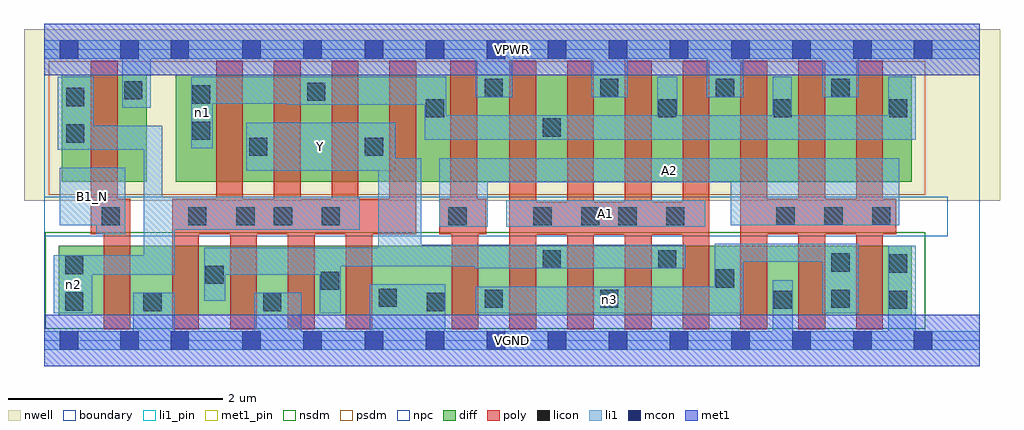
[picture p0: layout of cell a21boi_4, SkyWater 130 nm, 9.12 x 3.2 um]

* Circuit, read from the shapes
.subckt a21boi_4 A1 A2 B1_N VGND VPWR Y n1 n2 n3
XM1 VGND B1_N n2 VSUBS sky130_fd_pr__nfet_01v8 w=0.65 l=0.25
XM2 Y n2 VGND VSUBS sky130_fd_pr__nfet_01v8 w=0.65 l=0.25 m=4
XM3 n3 A2 VGND VSUBS sky130_fd_pr__nfet_01v8 w=0.65 l=0.25 m=4
XM4 Y A1 n3 VSUBS sky130_fd_pr__nfet_01v8 w=0.65 l=0.25 m=4
XM5 VPWR B1_N n2 n4 sky130_fd_pr__pfet_01v8 w=1 l=0.25
XM6 Y n2 n1 n4 sky130_fd_pr__pfet_01v8 w=1 l=0.25 m=4
XM7 VPWR A2 n1 n4 sky130_fd_pr__pfet_01v8 w=1 l=0.25 m=4
XM8 n1 A1 VPWR n4 sky130_fd_pr__pfet_01v8 w=1 l=0.25 m=4
.ends

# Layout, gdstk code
import gdstk
lib = gdstk.Library(unit=1e-6, precision=1e-09)
def R(c, l, rs):  # rectangles x0, y0, x1, y1
    for r in rs: c.add(gdstk.rectangle(r[:2], r[2:], *l))
def A(c, l, x, y, w, h, nx, ny, dx, dy):  # array of equal rectangles
    R(c, l, [(x+i*dx, y+j*dy, x+i*dx+w, y+j*dy+h) for i in range(nx) for j in range(ny)])
nwell = (64, 20)
diff = (65, 20)
poly = (66, 20)
licon = (66, 44)
li1_pin = (67, 16)
li1 = (67, 20)
mcon = (67, 44)
met1_pin = (68, 16)
met1 = (68, 20)
nsdm = (93, 44)
psdm = (94, 20)
npc = (95, 20)
boundary = (235, 4)

a21boi_4 = lib.new_cell('a21boi_4')
R(a21boi_4, nwell, [(-0.19,1.305,8.93,2.91), (0,1.305,8.74,2.91)])
R(a21boi_4, diff, [(0.135,0.235,8.105,0.885), (0.165,1.485,0.955,2.485), (1.23,1.485,8.105,2.485)])
A(a21boi_4, poly, 1.195, 0.105, 0.25, 1.22, 4, 1, 0.54, 0)
A(a21boi_4, poly, 4.345, 0.105, 0.25, 2.51, 7, 1, 0.54, 0)
A(a21boi_4, poly, 1.605, 0.995, 0.25, 1.62, 4, 1, 0.54, 0)
R(a21boi_4, poly, [(0.555,0.105,0.805,1.325), (3.805,0.105,4.055,1.325), (4.345,0.99,6.215,1.295), (0.435,0.995,0.685,2.615), (1.195,0.995,3.475,1.325), (3.69,0.995,4.13,1.325), (3.795,0.995,4.045,2.615), (6.505,0.995,7.96,1.325)])
A(a21boi_4, licon, 5.735, 2.085, 0.17, 0.17, 3, 1, 1.08, 0)
A(a21boi_4, licon, 4.115, 2.275, 0.17, 0.17, 4, 1, 1.08, 0)
R(a21boi_4, licon, [(0.925,0.275,1.095,0.445), (2.045,0.275,2.215,0.445), (3.575,0.275,3.745,0.445), (0.195,0.28,0.365,0.45), (6.815,0.295,6.985,0.465), (7.895,0.295,8.065,0.465), (4.115,0.305,4.285,0.475), (5.195,0.305,5.365,0.475), (7.355,0.305,7.525,0.475), (3.125,0.315,3.295,0.485), (2.585,0.475,2.755,0.645), (6.275,0.495,6.445,0.665), (1.505,0.53,1.675,0.7), (0.195,0.62,0.365,0.79), (7.895,0.635,8.065,0.805), (7.355,0.645,7.525,0.815), (4.655,0.675,4.825,0.845), (5.735,0.675,5.905,0.845), (0.535,1.075,0.705,1.245), (1.345,1.075,1.515,1.245), (1.795,1.075,1.965,1.245), (2.145,1.075,2.315,1.245), (2.59,1.075,2.76,1.245), (3.775,1.075,3.945,1.245), (4.57,1.075,4.74,1.245), (5.015,1.075,5.185,1.245), (5.365,1.075,5.535,1.245), (5.81,1.075,5.98,1.245), (6.84,1.075,7.01,1.245), (7.29,1.075,7.46,1.245), (7.735,1.075,7.905,1.245), (1.915,1.725,2.085,1.895), (2.995,1.725,3.165,1.895), (0.205,1.85,0.375,2.02), (1.38,1.875,1.55,2.045), (4.655,1.905,4.825,2.075), (3.565,2.085,3.735,2.255), (0.205,2.19,0.375,2.36), (1.38,2.215,1.55,2.385), (2.455,2.24,2.625,2.41), (0.745,2.255,0.915,2.425)])
R(a21boi_4, li1_pin, [(4.315,1.065,6.175,1.31), (0.145,1.075,0.755,1.615), (3.69,1.48,7.99,1.705), (1.885,1.585,3.28,2.035)])
A(a21boi_4, li1, 4.03, 2.275, 0.34, 0.53, 4, 1, 1.08, 0)
R(a21boi_4, li1, [(0,-0.085,8.74,0.085), (0.83,-0.085,1.22,0.445), (1.96,-0.085,2.4,0.445), (3.04,-0.085,3.745,0.525), (6.805,-0.085,6.995,0.565), (7.885,-0.085,8.145,0.885), (0.09,0.255,0.45,0.795), (2.575,0.255,2.77,0.865), (4.03,0.255,6.53,0.505), (6.265,0.255,6.53,0.905), (7.27,0.255,7.61,0.905), (1.495,0.37,1.69,0.865), (0.09,0.615,1.22,0.795), (0.93,0.615,1.1,2.005), (0.93,0.615,1.22,1.345), (1.495,0.615,2.77,0.865), (4.02,0.675,5.99,0.895), (1.495,0.695,5.99,0.865), (3.12,0.695,5.99,0.895), (6.265,0.735,7.61,0.905), (3.12,0.895,3.52,1.705), (0.485,0.995,0.755,1.615), (0.93,1.035,2.945,1.345), (3.69,1.065,4.145,1.705), (4.315,1.065,6.175,1.31), (0.145,1.075,0.755,1.615), (6.415,1.075,7.99,1.705), (3.69,1.48,7.99,1.705), (1.885,1.585,3.28,2.035), (0.125,1.785,0.46,2.465), (0.125,1.785,1.1,2.005), (1.375,1.795,1.575,2.465), (3.555,1.875,8.145,2.105), (3.555,1.875,3.755,2.465), (5.725,1.875,5.915,2.465), (6.805,1.875,6.985,2.465), (7.885,1.875,8.145,2.465), (0.73,2.175,0.995,2.805), (2.27,2.205,3.755,2.465), (1.375,2.215,3.755,2.465), (0,2.635,8.74,2.805)])
A(a21boi_4, mcon, 2.995, -0.085, 0.17, 0.17, 6, 2, 0.57, 2.72)
A(a21boi_4, mcon, 6.42, -0.085, 0.17, 0.17, 3, 2, 0.57, 2.72)
R(a21boi_4, mcon, [(0.145,-0.085,0.315,0.085), (0.71,-0.085,0.88,0.085), (1.18,-0.085,1.35,0.085), (1.85,-0.085,2.02,0.085), (2.42,-0.085,2.59,0.085), (8.125,-0.085,8.295,0.085), (0.145,2.635,0.315,2.805), (0.71,2.635,0.88,2.805), (1.18,2.635,1.35,2.805), (1.85,2.635,2.02,2.805), (2.42,2.635,2.59,2.805), (8.125,2.635,8.295,2.805)])
R(a21boi_4, met1_pin, [(0,-0.24,8.74,0.24), (0,2.48,8.74,2.96)])
R(a21boi_4, met1, [(0,-0.24,8.74,0.24), (0,2.48,8.74,2.96)])
R(a21boi_4, nsdm, [(0.01,0.11,8.23,1.01)])
R(a21boi_4, psdm, [(0.04,1.36,8.23,2.61)])
R(a21boi_4, npc, [(0,0.975,8.44,1.345)])
R(a21boi_4, boundary, [(0,0,8.74,2.72)])
a21boi_4.add(gdstk.Label('A1', (5.245,1.187), layer=67, texttype=5))
a21boi_4.add(gdstk.Label('A2', (5.84,1.592), layer=67, texttype=5))
a21boi_4.add(gdstk.Label('B1_N', (0.45,1.345), layer=67, texttype=5))
a21boi_4.add(gdstk.Label('Y', (2.582,1.81), layer=67, texttype=5))
a21boi_4.add(gdstk.Label('n3', (5.28,0.38), layer=67, texttype=5))
a21boi_4.add(gdstk.Label('n2', (0.27,0.525), layer=67, texttype=5))
a21boi_4.add(gdstk.Label('n1', (1.475,2.13), layer=67, texttype=5))
a21boi_4.add(gdstk.Label('VPWR', (4.37,2.72), layer=68, texttype=5))
a21boi_4.add(gdstk.Label('VGND', (4.37,0), layer=68, texttype=5))
a21boi_4.add(gdstk.Label('A1', (5.245,1.187), layer=67, texttype=16))
a21boi_4.add(gdstk.Label('A2', (5.84,1.592), layer=67, texttype=16))
a21boi_4.add(gdstk.Label('B1_N', (0.45,1.345), layer=67, texttype=16))
a21boi_4.add(gdstk.Label('Y', (2.582,1.81), layer=67, texttype=16))
a21boi_4.add(gdstk.Label('VPWR', (4.37,2.72), layer=68, texttype=16))
a21boi_4.add(gdstk.Label('VGND', (4.37,0), layer=68, texttype=16))

lib.write_gds('a21boi_4.gds')
